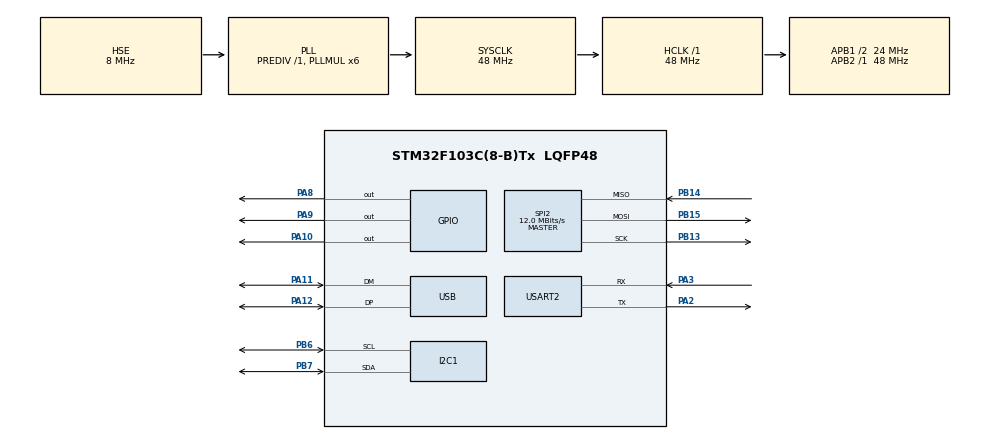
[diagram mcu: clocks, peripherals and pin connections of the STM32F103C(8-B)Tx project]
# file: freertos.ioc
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FREERTOS.BinarySemaphores01=Counts,Dynamic,NULL,Available
FREERTOS.Queues01=myQueue01,16,uint16_t,0,Dynamic,NULL,NULL
FREERTOS.Tasks01=defaultTask,24,128,StartDefaultTask,Default,NULL,Dynamic,NULL,NULL;Read,8,128,StartTask02,Default,NULL,Dynamic,NULL,NULL;Write,8,128,StartTask03,Default,NULL,Dynamic,NULL,NULL;Send,8,128,StartTask04,Default,NULL,Dynamic,NULL,NULL
Mcu.Family=STM32F1
Mcu.Name=STM32F103C(8-B)Tx
Mcu.Package=LQFP48
NVIC.PriorityGroup=NVIC_PRIORITYGROUP_4
NVIC.USB_LP_CAN1_RX0_IRQn=true\:5\:0\:false\:false\:true\:true\:false\:true\:true
PA10.Signal=GPIO_Output
PA11.Mode=Device
PA11.Signal=USB_DM
PA12.Mode=Device
PA12.Signal=USB_DP
PA13.Mode=Serial_Wire
PA13.Signal=SYS_JTMS-SWDIO
PA14.Mode=Serial_Wire
PA14.Signal=SYS_JTCK-SWCLK
PA2.Mode=Asynchronous
PA2.Signal=USART2_TX
PA3.Mode=Asynchronous
PA3.Signal=USART2_RX
PA8.Signal=GPIO_Output
PA9.Signal=GPIO_Output
PB13.Mode=Full_Duplex_Master
PB13.Signal=SPI2_SCK
PB14.Mode=Full_Duplex_Master
PB14.Signal=SPI2_MISO
PB15.Mode=Full_Duplex_Master
PB15.Signal=SPI2_MOSI
PB6.Mode=I2C
PB6.Signal=I2C1_SCL
PB7.Mode=I2C
PB7.Signal=I2C1_SDA
PD0-OSC_IN.Mode=HSE-External-Oscillator
PD0-OSC_IN.Signal=RCC_OSC_IN
PD1-OSC_OUT.Mode=HSE-External-Oscillator
PD1-OSC_OUT.Signal=RCC_OSC_OUT
ProjectManager.HeapSize=0x200
ProjectManager.StackSize=0x400
ProjectManager.TargetToolchain=STM32CubeIDE
RCC.AHBFreq_Value=48000000
RCC.APB1CLKDivider=RCC_HCLK_DIV2
RCC.APB1Freq_Value=24000000
RCC.APB1TimFreq_Value=48000000
RCC.APB2Freq_Value=48000000
RCC.APB2TimFreq_Value=48000000
RCC.HCLKFreq_Value=48000000
RCC.PLLMUL=RCC_PLL_MUL6
RCC.SYSCLKFreq_VALUE=48000000
RCC.SYSCLKSource=RCC_SYSCLKSOURCE_PLLCLK
RCC.USBFreq_Value=48000000
SPI2.CalculateBaudRate=12.0 MBits/s
SPI2.Direction=SPI_DIRECTION_2LINES
SPI2.Mode=SPI_MODE_MASTER
SPI2.VirtualType=VM_MASTER
USART2.VirtualMode=VM_ASYNC
USB_DEVICE.CLASS_NAME_FS=HID
USB_DEVICE.VirtualMode=Hid
USB_DEVICE.VirtualModeFS=Hid_FS
VP_FREERTOS_VS_CMSIS_V2.Mode=CMSIS_V2
VP_USB_DEVICE_VS_USB_DEVICE_HID_FS.Mode=HID_FS
board=custom

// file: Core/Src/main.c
/* USER CODE BEGIN Header */
/**
  ******************************************************************************
  * @file           : main.c
  * @brief          : Main program body
  ******************************************************************************
  * @attention
  *
  * Copyright (c) 2026 STMicroelectronics.
  * All rights reserved.
  *
  * This software is licensed under terms that can be found in the LICENSE file
  * in the root directory of this software component.
  * If no LICENSE file comes with this software, it is provided AS-IS.
  *
  ******************************************************************************
  */
/* USER CODE END Header */
#include "main.h"
#include "cmsis_os.h"
#include "usb_device.h"

/* USER CODE BEGIN Includes */
#include "usbd_hid.h"
#include "main.h"
#include "rtos.h"
#include <string.h>
/* USER CODE END Includes */

I2C_HandleTypeDef hi2c1;

SPI_HandleTypeDef hspi2;

UART_HandleTypeDef huart2;

/* Definitions for defaultTask */
osThreadId_t defaultTaskHandle;
const osThreadAttr_t defaultTask_attributes = {
  .name = "defaultTask",
  .stack_size = 128 * 4,
  .priority = (osPriority_t) osPriorityNormal,
};
/* Definitions for Read */
osThreadId_t ReadHandle;
const osThreadAttr_t Read_attributes = {
  .name = "Read",
  .stack_size = 128 * 4,
  .priority = (osPriority_t) osPriorityLow,
};
/* Definitions for Write */
osThreadId_t WriteHandle;
const osThreadAttr_t Write_attributes = {
  .name = "Write",
  .stack_size = 128 * 4,
  .priority = (osPriority_t) osPriorityLow,
};
/* Definitions for Send */
osThreadId_t SendHandle;
const osThreadAttr_t Send_attributes = {
  .name = "Send",
  .stack_size = 128 * 4,
  .priority = (osPriority_t) osPriorityLow,
};
/* Definitions for myQueue01 */
osMessageQueueId_t myQueue01Handle;
const osMessageQueueAttr_t myQueue01_attributes = {
  .name = "myQueue01"
};
/* Definitions for Counts */
osSemaphoreId_t CountsHandle;
const osSemaphoreAttr_t Counts_attributes = {
  .name = "Counts"
};

void SystemClock_Config(void);
static void MX_GPIO_Init(void);
static void MX_I2C1_Init(void);
static void MX_SPI2_Init(void);
static void MX_USART2_UART_Init(void);
void StartDefaultTask(void *argument);
void StartTask02(void *argument);
void StartTask03(void *argument);
void StartTask04(void *argument);

int main(void)
{

  /* MCU Configuration--------------------------------------------------------*/

  /* Reset of all peripherals, Initializes the Flash interface and the Systick. */
  HAL_Init();

  /* Configure the system clock */
  SystemClock_Config();

  /* Initialize all configured peripherals */
  MX_GPIO_Init();
  MX_I2C1_Init();
  MX_SPI2_Init();
  MX_USART2_UART_Init();

  /* Init scheduler */
  osKernelInitialize();

  /* Create the semaphores(s) */
  /* creation of Counts */
  CountsHandle = osSemaphoreNew(1, 1, &Counts_attributes);

  /* Create the queue(s) */
  /* creation of myQueue01 */
  myQueue01Handle = osMessageQueueNew (16, sizeof(uint16_t), &myQueue01_attributes);

  /* Create the thread(s) */
  /* creation of defaultTask */
  defaultTaskHandle = osThreadNew(StartDefaultTask, NULL, &defaultTask_attributes);

  /* creation of Read */
  ReadHandle = osThreadNew(StartTask02, NULL, &Read_attributes);

  /* creation of Write */
  WriteHandle = osThreadNew(StartTask03, NULL, &Write_attributes);

  /* creation of Send */
  SendHandle = osThreadNew(StartTask04, NULL, &Send_attributes);

  /* Start scheduler */
  osKernelStart();

  /* We should never get here as control is now taken by the scheduler */

  /* Infinite loop */
  while (1)
  {

  }
}

void SystemClock_Config(void)
{
  RCC_OscInitTypeDef RCC_OscInitStruct = {0};
  RCC_ClkInitTypeDef RCC_ClkInitStruct = {0};
  RCC_PeriphCLKInitTypeDef PeriphClkInit = {0};

  /** Initializes the RCC Oscillators according to the specified parameters
  * in the RCC_OscInitTypeDef structure.
  */
  RCC_OscInitStruct.OscillatorType = RCC_OSCILLATORTYPE_HSE;
  RCC_OscInitStruct.HSEState = RCC_HSE_ON;
  RCC_OscInitStruct.HSEPredivValue = RCC_HSE_PREDIV_DIV1;
  RCC_OscInitStruct.HSIState = RCC_HSI_ON;
  RCC_OscInitStruct.PLL.PLLState = RCC_PLL_ON;
  RCC_OscInitStruct.PLL.PLLSource = RCC_PLLSOURCE_HSE;
  RCC_OscInitStruct.PLL.PLLMUL = RCC_PLL_MUL6;
  if (HAL_RCC_OscConfig(&RCC_OscInitStruct) != HAL_OK)
  {
    Error_Handler();
  }

  /** Initializes the CPU, AHB and APB buses clocks
  */
  RCC_ClkInitStruct.ClockType = RCC_CLOCKTYPE_HCLK|RCC_CLOCKTYPE_SYSCLK
                              |RCC_CLOCKTYPE_PCLK1|RCC_CLOCKTYPE_PCLK2;
  RCC_ClkInitStruct.SYSCLKSource = RCC_SYSCLKSOURCE_PLLCLK;
  RCC_ClkInitStruct.AHBCLKDivider = RCC_SYSCLK_DIV1;
  RCC_ClkInitStruct.APB1CLKDivider = RCC_HCLK_DIV2;
  RCC_ClkInitStruct.APB2CLKDivider = RCC_HCLK_DIV1;

  if (HAL_RCC_ClockConfig(&RCC_ClkInitStruct, FLASH_LATENCY_1) != HAL_OK)
  {
    Error_Handler();
  }
  PeriphClkInit.PeriphClockSelection = RCC_PERIPHCLK_USB;
  PeriphClkInit.UsbClockSelection = RCC_USBCLKSOURCE_PLL;
  if (HAL_RCCEx_PeriphCLKConfig(&PeriphClkInit) != HAL_OK)
  {
    Error_Handler();
  }
}

static void MX_I2C1_Init(void)
{

  hi2c1.Instance = I2C1;
  hi2c1.Init.ClockSpeed = 100000;
  hi2c1.Init.DutyCycle = I2C_DUTYCYCLE_2;
  hi2c1.Init.OwnAddress1 = 0;
  hi2c1.Init.AddressingMode = I2C_ADDRESSINGMODE_7BIT;
  hi2c1.Init.DualAddressMode = I2C_DUALADDRESS_DISABLE;
  hi2c1.Init.OwnAddress2 = 0;
  hi2c1.Init.GeneralCallMode = I2C_GENERALCALL_DISABLE;
  hi2c1.Init.NoStretchMode = I2C_NOSTRETCH_DISABLE;
  if (HAL_I2C_Init(&hi2c1) != HAL_OK)
  {
    Error_Handler();
  }

}

static void MX_SPI2_Init(void)
{

  /* SPI2 parameter configuration*/
  hspi2.Instance = SPI2;
  hspi2.Init.Mode = SPI_MODE_MASTER;
  hspi2.Init.Direction = SPI_DIRECTION_2LINES;
  hspi2.Init.DataSize = SPI_DATASIZE_8BIT;
  hspi2.Init.CLKPolarity = SPI_POLARITY_LOW;
  hspi2.Init.CLKPhase = SPI_PHASE_1EDGE;
  hspi2.Init.NSS = SPI_NSS_SOFT;
  hspi2.Init.BaudRatePrescaler = SPI_BAUDRATEPRESCALER_2;
  hspi2.Init.FirstBit = SPI_FIRSTBIT_MSB;
  hspi2.Init.TIMode = SPI_TIMODE_DISABLE;
  hspi2.Init.CRCCalculation = SPI_CRCCALCULATION_DISABLE;
  hspi2.Init.CRCPolynomial = 10;
  if (HAL_SPI_Init(&hspi2) != HAL_OK)
  {
    Error_Handler();
  }

}

static void MX_USART2_UART_Init(void)
{

  huart2.Instance = USART2;
  huart2.Init.BaudRate = 115200;
  huart2.Init.WordLength = UART_WORDLENGTH_8B;
  huart2.Init.StopBits = UART_STOPBITS_1;
  huart2.Init.Parity = UART_PARITY_NONE;
  huart2.Init.Mode = UART_MODE_TX_RX;
  huart2.Init.HwFlowCtl = UART_HWCONTROL_NONE;
  huart2.Init.OverSampling = UART_OVERSAMPLING_16;
  if (HAL_UART_Init(&huart2) != HAL_OK)
  {
    Error_Handler();
  }

}

static void MX_GPIO_Init(void)
{
  GPIO_InitTypeDef GPIO_InitStruct = {0};

  /* GPIO Ports Clock Enable */
  __HAL_RCC_GPIOD_CLK_ENABLE();
  __HAL_RCC_GPIOA_CLK_ENABLE();
  __HAL_RCC_GPIOB_CLK_ENABLE();

  /*Configure GPIO pin Output Level */
  HAL_GPIO_WritePin(GPIOA, GPIO_PIN_8|GPIO_PIN_9|GPIO_PIN_10, GPIO_PIN_RESET);

  /*Configure GPIO pins : PA8 PA9 PA10 */
  GPIO_InitStruct.Pin = GPIO_PIN_8|GPIO_PIN_9|GPIO_PIN_10;
  GPIO_InitStruct.Mode = GPIO_MODE_OUTPUT_PP;
  GPIO_InitStruct.Pull = GPIO_NOPULL;
  GPIO_InitStruct.Speed = GPIO_SPEED_FREQ_LOW;
  HAL_GPIO_Init(GPIOA, &GPIO_InitStruct);

}

void StartDefaultTask(void *argument)
{
  /* init code for USB_DEVICE */
  MX_USB_DEVICE_Init();
  for(;;)
  {
    osDelay(1);
  }
}

void StartTask02(void *argument)
{
  /* USER CODE BEGIN StartTask02 */
  /* Infinite loop */
	uint8_t pack[] = "EEPROM\r\n";
  for(;;)
  {
	//Serial_Transmit(pack, sizeof(pack)-1);
	osDelay(2000);
  }
  /* USER CODE END StartTask02 */
}

void StartTask03(void *argument)
{
  /* USER CODE BEGIN StartTask03 */
  /* Infinite loop */
	uint8_t dat[] = "0x7\n\r";
  for(;;)
  {
	 Write_Mem(0x50<<1, 0x10, dat, sizeof(dat)-1);
    osDelay(200);
  }
  /* USER CODE END StartTask03 */
}

void StartTask04(void *argument)
{
  /* USER CODE BEGIN StartTask04 */
  /* Infinite loop */
	uint8_t dat[] = "0x7\n\r";
	uint8_t read[sizeof(dat)-1]= {0};
  for(;;)
  {
	Read_Mem(0x50<<1, 0x10, read, sizeof(dat)-1);
	HAL_Delay(20);
	Serial_Transmit(read, sizeof(dat)-1);
	HAL_Delay(200);
	Oled_on();
    osDelay(2000);
  }
  /* USER CODE END StartTask04 */
}

void Error_Handler(void)
{
  __disable_irq();
  while (1)
  {
  }
}
